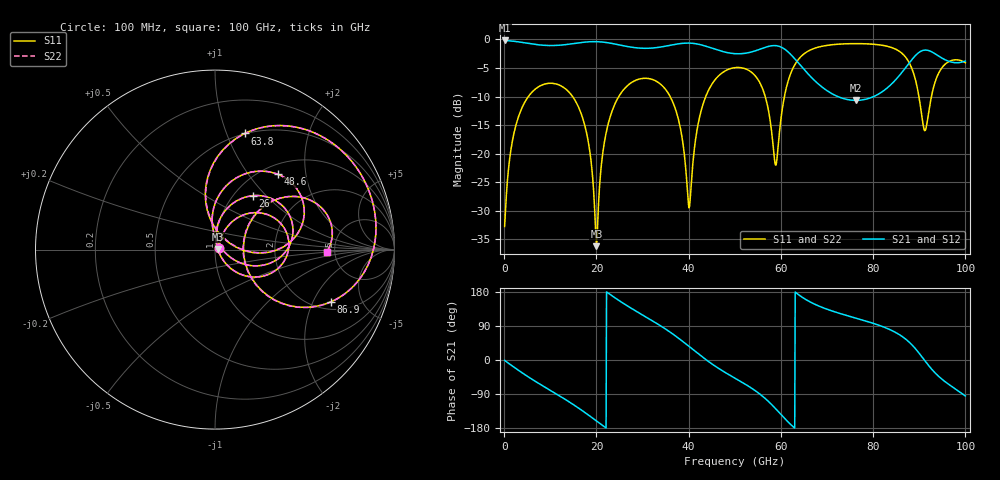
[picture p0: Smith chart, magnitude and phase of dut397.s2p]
! Touchstone file exported from HFSS 2026.1.0
!  File:  C:/ffzhzh/LocalFiles/Ansys_Project_Files/temp_train_TSV_RDL_397_1783720253_45164.aedt
!  Generated:  05:56:58 AM Jul 11, 2026
!  Design:  TSV_RDL
!  Project:  temp_train_TSV_RDL_397_1783720253_45164
! Variables:
!  h_bsmrdl = 3um
!  h_ox = 20um
!  h_rdl = 5um
!  h_sub = 73.76um
!  h_tmrdl = 2.54um
!  h_tsv = 73.76um
!  h_via = 3um
!  l_bsmrdl = 167.59um
!  l_sub = 2220.84um
!  l_tmrdl = 313.1um
!  m_sub = 200um
!  pitch = 40.79um
!  r_tsv = 14.58um
!  s_tmrdl = 10um
!  w_bsmrdl = 10.11um
!  w_sub = 500um
!  w_tmrdl = 11.78um
!  x_tsv_center1 = 318.99um
!  x_tsv_center2 = 496.69um
!  x_tsv_center3 = 821.57um
!  x_tsv_center4 = 999.27um
!  x_tsv_center5 = 1324.15um
!  x_tsv_center6 = 1501.85um
# GHz S MA R 50.000000
! Terminal data exported
! Port[1] = TM_RDL1_1_T1
! Port[2] = TM_RDL5_1_T1
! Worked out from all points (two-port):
!   1000 points, 100 MHz to 100 GHz, reference 50 ohm
!   highest |S21| = -0.19 dB at 100 MHz (marker M1); lowest = -10.7 dB at 76.3 GHz (marker M2)
!   |S21| within 3 dB of the highest: start of sweep to 62.78 GHz; 88.76 GHz to 94.75 GHz (5.985 GHz wide, 6.52 % of centre)
!   lowest |S11| = -36.2 dB at 20 GHz (marker M3), VSWR 1.03, Z = 51.5 + j0.384 ohm
!   |S11| at or under -10 dB: start of sweep to 5.253 GHz; 14.84 GHz to 24.85 GHz (10.01 GHz wide, 50.5 % of centre); 35.99 GHz to 43.71 GHz (7.718 GHz wide, 19.4 % of centre) (the widest 3 of 5)
!   |S22| runs from -35.8 to -0.7 dB; largest |S21 - S12| = 1.2e-12
!   S11 on the Smith chart (normalised r, x): 100 MHz: 1.04, +0.02; 26 GHz: 1.21, +0.84; 48.6 GHz: 1.17, +1.40; 63.8 GHz: 0.50, +1.16; 86.9 GHz: 2.39, -2.79; 100 GHz: 4.31, -0.16
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0.1  0.02309 18.9  0.9783 -0.9  0.9783 -0.9  0.02309 18.9
! Gamma 0 0 0 0
! Port Impedance 50 0 50 0
2  0.1429 61.7  0.9638 -17.8  0.9638 -17.8  0.1429 61.7
5.4  0.3221 39.5  0.9196 -45.9  0.9196 -45.9  0.3221 39.5
16.8  0.2182 -41.6  0.9392 -132.5  0.9392 -132.5  0.2182 -41.4
20  0.01554 13.9  0.9549 -160.7  0.9549 -160.7  0.01615 14.1
22.2  0.1584 82.2  0.9377 179.7  0.9377 179.7  0.1585 82.0
26  0.3672 54.9  0.8767 148.2  0.8767 148.2  0.3672 54.9
33.4  0.4204 4.4  0.8508 94.1  0.8508 94.1  0.4204 4.4
37.6  0.2132 -24.4  0.9116 59.4  0.9116 59.4  0.2132 -24.5
40.1  0.03362 33.9  0.9274 35.7  0.9274 35.7  0.03325 34.0
43.1  0.2696 88.8  0.8866 6.8  0.8866 6.8  0.2696 88.9
48.6  0.5464 50.2  0.7627 -37.8  0.7627 -37.8  0.5465 50.2
50.1  0.5662 40.5  0.7495 -48.4  0.7495 -48.4  0.5662 40.6
55.7  0.3974 3.6  0.8265 -92.4  0.8265 -92.4  0.3977 3.8
58.9  0.07934 50.1  0.8814 -129.1  0.8814 -129.1  0.08151 50.1
63.8  0.6683 75.6  0.6218 172.7  0.6218 172.7  0.6685 75.4
66.7  0.8182 56.5  0.4611 150.9  0.4611 150.9  0.8183 56.4
76.3  0.918 20.2  0.2926 110.3  0.2926 110.3  0.918 20.2
83.4  0.8629 -4.5  0.3868 81.4  0.3868 81.4  0.8628 -4.6
86.9  0.7097 -24.1  0.5561 56.6  0.5561 56.6  0.7096 -24.2
91.5  0.1695 17.0  0.8059 -6.4  0.8059 -6.4  0.1674 17.2
100  0.6239 -1.0  0.6469 -95.0  0.6469 -95.0  0.6235 -1.0
